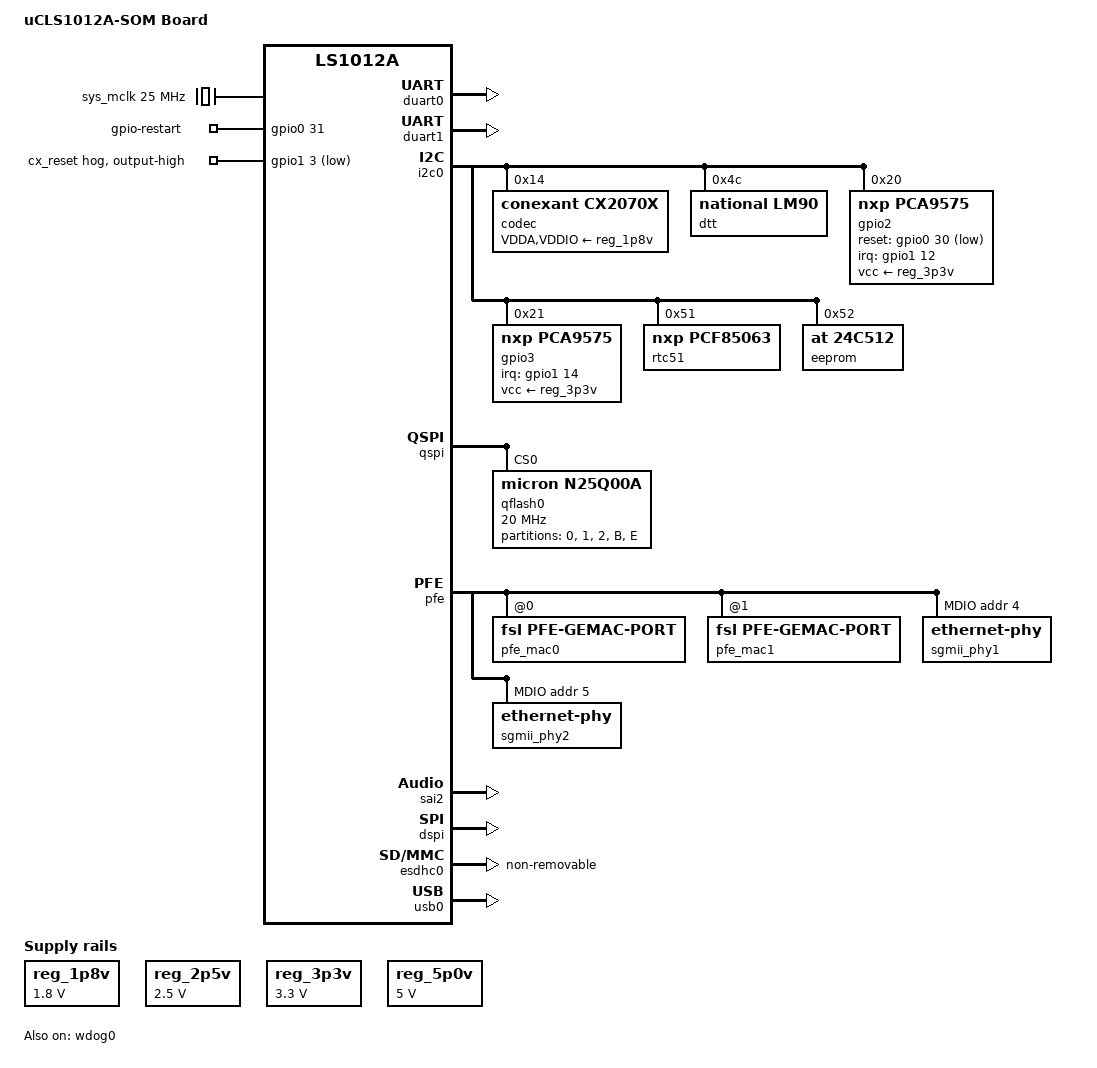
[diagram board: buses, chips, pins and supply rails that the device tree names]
// SPDX-License-Identifier: (GPL-2.0+ OR MIT)
/*
 * Device Tree Include file for Arcturus uCLS1012A-SOM.
 *
 * Copyright 2017-2022, Arcturus Networks Inc.
 *
 */
/dts-v1/;

#define RESET_BY_GPIO 1
#define ENABLE_EXTERNAL_WATCHDOG_PING 0

#include "ucls1012a.dtsi"

/ {
	model = "uCLS1012A-SOM Board";
	compatible = "arc,ucls1012a-som", "fsl,ls1012a";

	aliases {
		ethernet0 = &pfe_mac0;
		ethernet1 = &pfe_mac1;
	};

	sys_mclk: clock-mclk {
		compatible = "fixed-clock";
		#clock-cells = <0>;
		clock-frequency = <25000000>;
	};
#if RESET_BY_GPIO
	gpio-restart {
		compatible = "gpio-restart";
		/* gpios = <&gpio0 30 GPIO_ACTIVE_HIGH>; For modules Rev. < 1,4 */
		gpios = <&gpio0 31 GPIO_ACTIVE_HIGH>;
		open-source;
		priority = <200>;
	};
#endif

	reg_1p8v: regulator-1p8v {
		compatible = "regulator-fixed";
		regulator-name = "1P8V";
		regulator-min-microvolt = <1800000>;
		regulator-max-microvolt = <1800000>;
		regulator-always-on;
	};

	reg_2p5v: regulator-2p5v {
		compatible = "regulator-fixed";
		regulator-name = "2P5V";
		regulator-min-microvolt = <2500000>;
		regulator-max-microvolt = <2500000>;
		regulator-always-on;
	};

	reg_3p3v: regulator-3p3v {
		compatible = "regulator-fixed";
		regulator-name = "3P3V";
		regulator-min-microvolt = <3300000>;
		regulator-max-microvolt = <3300000>;
		regulator-always-on;
	};

	reg_5p0v: regulator-5p0v {
		compatible = "regulator-fixed";
		regulator-name = "5P0V";
		regulator-min-microvolt = <5000000>;
		regulator-max-microvolt = <5000000>;
		regulator-always-on;
	};

	sound {
		compatible = "simple-audio-card";
		simple-audio-card,format = "i2s";
		simple-audio-card,widgets =
			"Line", "Line In Jack",
			"Line", "Line Out Jack";
		simple-audio-card,routing =
			"LINEIN1", "Line In Jack",
			"LINEIN2", "Line In Jack",
			"Line Out Jack", "LINEOUT";
		simple-audio-card,cpu {
			sound-dai = <&sai2>;
			frame-master;
			bitclock-master;
		};
		simple-audio-card,codec {
			sound-dai = <&codec>;
			frame-master;
			bitclock-master;
			system-clock-frequency = <25000000>;
		};
	};

#if ENABLE_EXTERNAL_WATCHDOG_PING
	xwatchdog: xwatchdog {
		compatible = "linux,wdt-gpio";
		gpios = <&gpio0 25 GPIO_ACTIVE_HIGH>;
		hw_algo = "toggle";
		hw_margin_ms = <1000>;
		always-running;
		status = "okay";
	};
#endif

	leds {
		compatible = "gpio-leds";
		status = "okay";
#if 0
		led1 {
			label = "OUT1";
			gpios = <&gpio2 8 GPIO_ACTIVE_HIGH>;
			default-state = "on";
		};
		led2 {
			label = "OUT2";
			gpios = <&gpio2 9 GPIO_ACTIVE_HIGH>;
			default-state = "off";
		};
		led3 {
			label = "OUT3";
			gpios = <&gpio2 10 GPIO_ACTIVE_HIGH>;
			default-state = "on";
		};
		led4 {
			label = "OUT4";
			gpios = <&gpio2 11 GPIO_ACTIVE_HIGH>;
			default-state = "off";
		};
		led5 {
			label = "OUT5";
			gpios = <&gpio2 12 GPIO_ACTIVE_HIGH>;
			default-state = "on";
		};
		led6 {
			label = "OUT6";
			gpios = <&gpio2 13 GPIO_ACTIVE_HIGH>;
			default-state = "off";
		};
		led7 {
			label = "OUT7";
			gpios = <&gpio2 14 GPIO_ACTIVE_HIGH>;
			default-state = "on";
		};
		led8 {
			label = "OUT8";
			gpios = <&gpio2 15 GPIO_ACTIVE_HIGH>;
			default-state = "off";
		};
		amp_en {
			label = "AMP_EN";
			gpios = <&gpio3 0 GPIO_ACTIVE_HIGH>;
			default-state = "off";
		};
#endif
	};

	gpio-keys {
		compatible = "gpio-keys";
		status = "okay";
#if 0
		button1 {
			label = "IN1";
			linux,code = <432>;
			gpios = <&gpio2 0 GPIO_OPEN_DRAIN>;
			debounce-interval = <20>;
		};
		button2 {
			label = "IN2";
			linux,code = <433>;
			gpios = <&gpio2 1 GPIO_OPEN_DRAIN>;
			debounce-interval = <20>;
		};
		button3 {
			label = "IN3";
			linux,code = <434>;
			gpios = <&gpio2 2 GPIO_OPEN_DRAIN>;
			debounce-interval = <20>;
		};
		button4 {
			label = "IN4";
			linux,code = <435>;
			gpios = <&gpio2 3 GPIO_OPEN_DRAIN>;
			debounce-interval = <20>;
		};
		button5 {
			label = "IN5";
			linux,code = <436>;
			gpios = <&gpio2 4 GPIO_OPEN_DRAIN>;
			debounce-interval = <20>;
		};
		button6 {
			label = "IN6";
			linux,code = <437>;
			gpios = <&gpio2 5 GPIO_OPEN_DRAIN>;
			debounce-interval = <20>;
		};
		button7 {
			label = "IN7";
			linux,code = <438>;
			gpios = <&gpio2 6 GPIO_OPEN_DRAIN>;
			debounce-interval = <20>;
		};
		button8 {
			label = "IN8";
			linux,code = <439>;
			gpios = <&gpio2 7 GPIO_OPEN_DRAIN>;
			debounce-interval = <20>;
		};
#endif
	};
};

&pcie {
	status = "disabled";
};

&duart0 {
	status = "okay";
};

&duart1 {
	status = "okay";
};

&i2c0 {
	status = "okay";

	codec: cx2070x@14 {
		#sound-dai-cells = <0>;
		compatible = "conexant,cx2070x";
		reg = <0x14>;
		clocks = <&sys_mclk>;
		VDDA-supply = <&reg_1p8v>;
		VDDIO-supply = <&reg_1p8v>;
	};

	dtt@4c {
		compatible = "national,lm90";
		reg = <0x4C>;
	};

	/* U23 */
	gpio2: pca9575@20 {
		compatible = "nxp,pca9575";
		reg =<0x20>;

		/* GPIO pin base & pin0# = 432 */
		gpio-controller;
		#gpio-cells = <2>;

		interrupt-controller;
		#interrupt-cells = <2>;
		interrupt-parent = <&gpio1>;
		interrupts = <12 IRQ_TYPE_EDGE_FALLING>;
		vcc-supply = <&reg_3p3v>;

		reset-gpios = <&gpio0 30 GPIO_ACTIVE_LOW>;

		gpio-line-names = "IN1",
				  "IN2",
				  "IN3",
				  "IN4",
				  "IN5",
				  "IN6",
				  "IN7",
				  "IN8",
				  "OUT1",
				  "OUT2",
				  "OUT3",
				  "OUT4",
				  "OUT5",
				  "OUT6",
				  "OUT7",
				  "OUT8";
	};

	/* U13 */
	gpio3: pca9575@21 {
		compatible = "nxp,pca9575";
		reg =<0x21>;

		/* GPIO pin base & pin0# = 416 */
		gpio-controller;
		#gpio-cells = <2>;

		interrupt-controller;
		#interrupt-cells = <2>;
		interrupt-parent = <&gpio1>;
		interrupts = <14 IRQ_TYPE_EDGE_FALLING>;
		vcc-supply = <&reg_3p3v>;
	};

	rtc51: rtc@51 {
		compatible = "nxp,pcf85063";
		reg = <0x51>;
		status = "ok";
	};

	eeprom@52 {
		compatible = "at,24c512";
		reg = <0x52>;
	};
};

&qspi {
	num-cs = <1>;
	bus-num = <0>;
	status = "okay";

	qflash0: n25q00a@0 {
		compatible = "micron,n25q00a", "jedec,spi-nor";
		#address-cells = <1>;
		#size-cells = <1>;
		m25p,fast-read;
		spi-max-frequency = <20000000>;
		reg = <0>;
		partitions {
			compatible = "fixed-partitions";
			#address-cells = <1>;
			#size-cells = <1>;
			partition0 {
				label = "0";
				reg = <0x00A00000 0x00800000>;
			};
			partition1 {
				label = "1";
				reg = <0x01200000 0x02e00000>;
			};
			partition2 {
				label = "2";
				reg = <0x04000000 0x04000000>;
			};
			partitionB {
				label = "B";
				reg = <0x00100000 0x00100000>;
			};
			partitionE {
				label = "E";
				reg = <0x00200000 0x00040000>;
			};
		};
	};
};

&pfe {
	status = "okay";
	#address-cells = <1>;
	#size-cells = <0>;

	pfe_mac0: ethernet@0 {
		compatible = "fsl,pfe-gemac-port";
		#address-cells = <1>;
		#size-cells = <0>;
		reg = <0x0>;	/* GEM_ID */
		fsl,gemac-bus-id = <0x0>;	/* BUS_ID */
		fsl,mdio-mux-val = <0x0>;
		phy-mode = "sgmii";
		phy-handle = <&sgmii_phy1>;
	};

	pfe_mac1: ethernet@1 {
		compatible = "fsl,pfe-gemac-port";
		#address-cells = <1>;
		#size-cells = <0>;
		reg = <0x1>;	/* GEM_ID */
		fsl,mdio-mux-val = <0x0>;
		phy-mode = "sgmii";
		phy-handle = <&sgmii_phy2>;
	};

	mdio@0 {
		#address-cells = <1>;
		#size-cells = <0>;

		sgmii_phy1: ethernet-phy@4 {
			reg = <0x4>;
			max-speed = <100>;
		};

		sgmii_phy2: ethernet-phy@5 {
			reg = <0x5>;
			max-speed = <100>;
		};
	};
};

&sai2 {
	status = "okay";
};

&dspi {
	bus-num = <0>;
	status = "okay";
/***
	flash@0 {
		#address-cells = <1>;
		#size-cells = <1>;
		compatible = "w25q32dw", "jedec,spi-nor";
		reg = <2>;
		spi-max-frequency = <10000000>;
	};

	spidev@0 {
		#address-cells = <1>;
		#size-cells = <1>;
		compatible = "spidev";
		reg = <0>;
		spi-max-frequency = <10000000>;
		fsl,spi-cs-sck-delay = <100>;
		fsl,spi-sck-cs-delay = <100>;
	};
***/
/*** Disabled until RCW will be changed
	mmc-spi@1 {
		#address-cells = <1>;
		#size-cells = <1>;
		compatible = "mmc-spi-slot";
		reg = <1>;
		spi-max-frequency = <5000000>;
		voltage-ranges = <3200 3400>;
		spi-rx-bus-width = <1>;
		spi-tx-bus-width = <1>;
		disable-wp;
		disable-cd;
	};
***/
};

&esdhc0 {
	non-removable;
	status = "okay";
};

&usb0 {
	status = "okay";
};

&wdog0 {
	status = "okay";
};

&usb1 {
	status = "disabled";
};

&gpio0 {
	ngpios = <32>;
	gpio-line-names =	"UART1_SOUT",
				"UART1_SIN",
				"IIC1_SCL",
				"IIC1_SDA",
				"QSPI_A_SCK",
				"QSPI_A_CS0",
				"UART2_SIN",
				"UART2_RTS_B",
				"UART2_SOUT",
				"UART2_CTS_B",
				"GPIO1_10",
				"QSPI_A_DATA0",
				"QSPI_A_DATA1",
				"QSPI_A_DATA2",
				"QSPI_A_DATA3",
				"SHDC1_CMD",
				"SHDC1_DAT0",
				"SHDC1_DAT1",
				"SHDC1_DAT2",
				"SHDC1_DAT3",
				"SHDC1_CLK",
				"GPIO1_21", 	/* SDHC1_CD_B better not to use */
				"GPIO1_22", 	/* SDHC1_WP better not to use */
				"SDHC1_VSEL",
				"SPI_MOSI",
				"SPI_CS0_B",
				"SPI_CS1_B",
				"SPI_CS2_B",
				"SPI_MISO",
				"SPI_CLK",
				"GPIO_EXP_RST",
				"MODULE_RST";
};

&gpio1 {
	ngpios = <32>;
	gpio-line-names =	"USB1_DRVVBUS",
				"USB1_PWR_FAULT",
				"PHY_A_IRQ",
				"CX_RST",
				"SAI2_TX_DATA",
				"SAI2_RX_DATA",
				"SAI2_TX_SYNC",
				"SAI2_TX_BCLK",
				"reserved",
				"SAI2_RX_SYNC",
				"SAI2_RX_BCLK",
				"KWZ_48",
				"GPIO_EXP_IRQ0",
				"PHY_B_IRQ",
				"GPIO_EXP_IRQ1",
				"EMI1_MDC",
				"EMI1_MDIO",
				"TMP_DETECT_N",
				"reserved",
				"reserved",
				"reserved",
				"reserved",
				"reserved",
				"reserved",
				"reserved",
				"reserved",
				"reserved",
				"reserved",
				"reserved",
				"reserved",
				"reserved",
				"reserved";

	cx_rst {
		gpio-hog;
		gpios = <3 GPIO_ACTIVE_LOW>;
		output-high;
		line-name = "cx_reset";
	};
};
